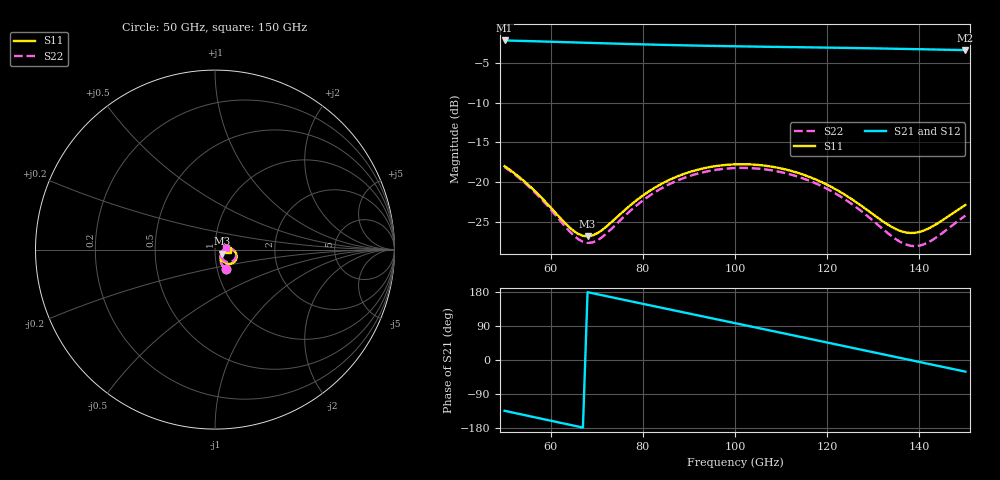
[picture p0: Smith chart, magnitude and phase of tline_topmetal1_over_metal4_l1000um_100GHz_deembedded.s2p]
! Created with skrf 2.0.1 (http://scikit-rf.org).
# GHz S DB R 50.0
!freq dBS11 angS11 dBS21 angS21 dBS12 angS12 dBS22 angS22
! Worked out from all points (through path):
!   101 points, 50 GHz to 150 GHz, reference 50 ohm
!   highest |S21| = -2.21 dB at 50 GHz (marker M1); lowest = -3.4 dB at 150 GHz (marker M2)
!   group delay of S21, straight-line fit = 7.11 ps
!   lowest |S11| = -26.8 dB at 68 GHz (marker M3), VSWR 1.10, Z = 54.1 - j2.45 ohm
!   |S11| at or under -10 dB: start of sweep to end of sweep
!   |S22| runs from -28.0 to -18.1 dB; largest |S21 - S12| = 8.7e-14
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50  -17.99 -61.1  -2.21 -134.0  -2.21 -134.0  -18.11 -61.0
55  -20.26 -64.9  -2.29 -147.1  -2.29 -147.1  -20.41 -65.2
59  -22.55 -63.8  -2.35 -157.6  -2.35 -157.6  -22.77 -64.6
64  -25.63 -51.2  -2.44 -170.6  -2.44 -170.6  -26.11 -52.8
67  -26.73 -35.6  -2.49 -178.4  -2.49 -178.4  -27.48 -36.5
68  -26.79 -29.6  -2.51 179.1  -2.51 179.1  -27.62 -30.1
71  -26.07 -13.8  -2.56 171.3  -2.56 171.3  -26.97 -12.2
76  -23.54 -0.6  -2.64 158.5  -2.64 158.5  -24.27 2.8
80  -21.67 1.0  -2.70 148.2  -2.70 148.2  -22.30 4.8
84  -20.23 -1.2  -2.76 138.0  -2.76 138.0  -20.78 2.8
92  -18.42 -10.9  -2.86 117.6  -2.86 117.6  -18.91 -6.8
100  -17.76 -23.2  -2.94 97.3  -2.94 97.3  -18.22 -19.0
104  -17.79 -29.6  -2.98 87.1  -2.98 87.1  -18.25 -25.4
108  -18.05 -35.8  -3.01 76.9  -3.01 76.9  -18.52 -31.7
112  -18.55 -41.7  -3.04 66.6  -3.04 66.6  -19.02 -37.7
117  -19.54 -48.2  -3.09 53.8  -3.09 53.8  -20.02 -44.4
126  -22.39 -53.9  -3.16 30.7  -3.16 30.7  -23.01 -51.2
134  -25.61 -43.0  -3.24 10.2  -3.24 10.2  -26.78 -41.3
137  -26.30 -32.9  -3.28 2.5  -3.28 2.5  -27.81 -30.0
140  -26.25 -21.6  -3.31 -5.2  -3.31 -5.2  -27.97 -16.3
143  -25.51 -12.2  -3.34 -12.8  -3.34 -12.8  -27.20 -4.3
150  -22.87 -3.2  -3.43 -30.7  -3.43 -30.7  -24.19 7.5
